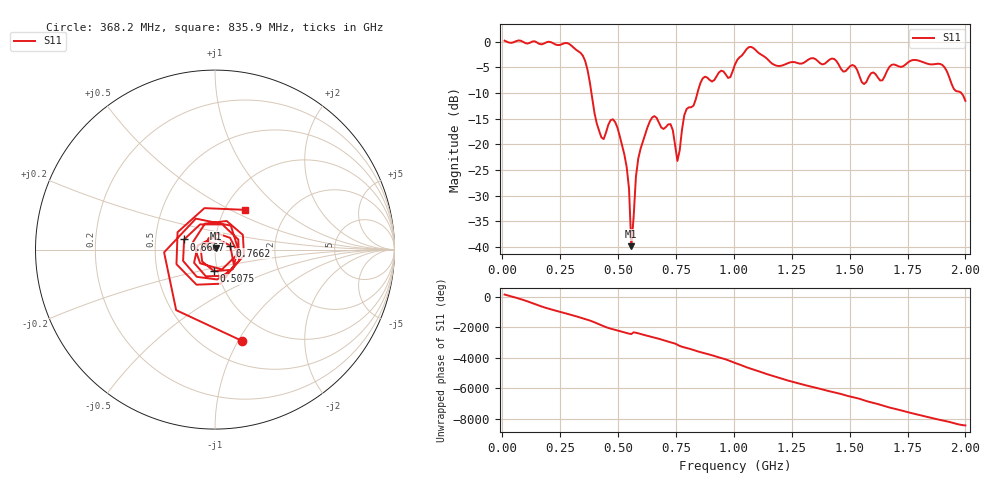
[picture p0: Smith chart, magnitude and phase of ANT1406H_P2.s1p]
!Created with skrf (http://scikit-rf.org).
# Hz S RI R 50.0
!freq ReS11 ImS11
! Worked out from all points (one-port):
!   201 points, 10 MHz to 2 GHz, reference 50 ohm
!   lowest |S11| = -39.8 dB at 557.2 MHz (marker M1), VSWR 1.02, Z = 50.3 + j0.972 ohm
!   |S11| at or under -10 dB: 385 MHz to 842.7 MHz (457.7 MHz wide, 74.6 % of centre); 1.982 GHz to end of sweep
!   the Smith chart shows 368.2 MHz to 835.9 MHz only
!   S11 on the Smith chart (normalised r, x): 368.2 MHz: 0.73, -1.04; 507.5 MHz: 0.96, -0.23; 666.7 MHz: 0.70, +0.08; 766.2 MHz: 1.18, +0.05; 835.9 MHz: 1.24, +0.59
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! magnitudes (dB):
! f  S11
! 10 MHz  0.2
! 258.8 MHz  -0.5
! 338.4 MHz  -2.2
! 368.2 MHz  -5.5
! 427.9 MHz  -18.6
! 477.6 MHz  -15.1
! 507.5 MHz  -18.4
! 547.3 MHz  -28.6
! 557.2 MHz  -39.8
! 577.1 MHz  -26.3
! 587.1 MHz  -22.8
! 636.9 MHz  -15.5
! 666.7 MHz  -14.8
! 726.4 MHz  -16.1
! 756.2 MHz  -23.2
! 766.2 MHz  -21.1
! 786.1 MHz  -14.3
! 835.9 MHz  -11.2
! 865.7 MHz  -7.1
! 985.1 MHz  -6.9
! 1.005 GHz  -4.4
! 1.075 GHz  -1.0
! 1.254 GHz  -4.0
! 1.502 GHz  -4.7
! 1.562 GHz  -8.3
! 1.751 GHz  -4.1
! 1.901 GHz  -4.5
! 2 GHz  -11.5
